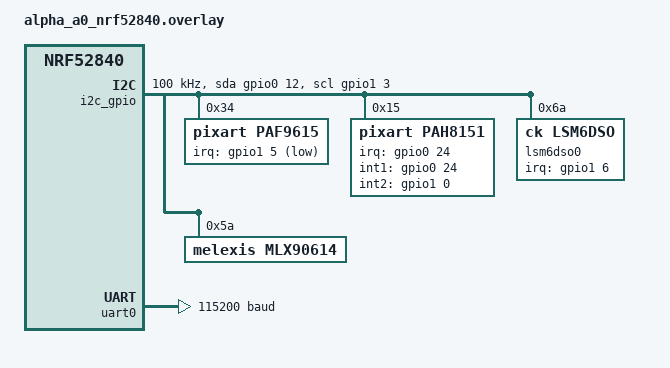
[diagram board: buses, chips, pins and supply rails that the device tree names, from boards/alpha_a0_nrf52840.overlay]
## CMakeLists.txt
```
cmake_minimum_required(VERSION 3.20.0)

# Drivers
set(DRIVERS
    vsm_drv
)

# Set Monorepo root
set(MONOREPO_ROOT "/workspaces/concord")
set(MONOREPO_ROOT ${MONOREPO_ROOT} CACHE INTERNAL "Monorepo root directory")

# Set the paths to the DTS and BOARD
set(DTS_ROOT ${MONOREPO_ROOT}/libs/zephyr/ck_boards/current)
set(BOARD_ROOT ${MONOREPO_ROOT}/libs/zephyr/ck_boards/current)
set(BOARD theta_b0/nrf52840)

# Append drivers
foreach(DRIVER IN LISTS DRIVERS)
    list(APPEND ZEPHYR_EXTRA_MODULES "${MONOREPO_ROOT}/libs/zephyr/${DRIVER}")
endforeach()

# DRIVERS FOR SOME REASON HAVE TO GO HERE?
find_package(Zephyr REQUIRED HINTS $ENV{ZEPHYR_BASE})
project(alpha)

# Get the library hex file path from the VSM driver module
set(LIBRARY_HEX_PATH ${VSM_PSP_HEX_PATH})

# Get the PAH8151 HRD library path from the VSM driver module
set(PAH8151_HRD_LIB_PATH ${VSM_PAH8151_HRD_LIB_PATH})

# Define the merged hex file path
set(MERGED_HEX_PATH "${CMAKE_BINARY_DIR}/merged.hex")

# Custom target to merge and flash both hex files
if(EXISTS ${LIBRARY_HEX_PATH})
    add_custom_target(merge_hex ALL
        COMMAND ${CMAKE_COMMAND} -E echo "Merging application and library hex files..."
        COMMAND mergehex -m ${CMAKE_BINARY_DIR}/zephyr/zephyr.hex ${LIBRARY_HEX_PATH} -o ${MERGED_HEX_PATH}
        DEPENDS ${CMAKE_BINARY_DIR}/zephyr/zephyr.hex
        COMMENT "Merging hex files: application and library"
    )

    # Flash the merged hex file
    add_custom_target(flash_merged ALL
        COMMAND west flash --hex-file ${MERGED_HEX_PATH} --skip-rebuild
        DEPENDS merge_hex
        COMMENT "Flashing merged hex file"
    )
else()
    message(WARNING "Library hex file not found at: ${LIBRARY_HEX_PATH}. Ensure the vsm_drv module is included correctly.")
endif()

# target_sources(app PRIVATE src/main.c)
target_sources(app PRIVATE src/main_9160.c)
# target_sources(app PRIVATE src/test.c)
# target_sources(app PRIVATE src/test_temp.c)
# target_sources(app PRIVATE src/test_snr.c)
# target_sources(app PRIVATE src/test_cross_talk.c)
# target_sources(app PRIVATE src/test_reflectivity.c)
```

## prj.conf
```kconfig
# CONFIG_THREAD_ANALYZER=y
# CONFIG_THREAD_ANALYZER_USE_PRINTK=y
# CONFIG_THREAD_ANALYZER_AUTO=y
# CONFIG_THREAD_ANALYZER_AUTO_INTERVAL=5

# CoreKinect VSM driver
CONFIG_CK_MODULES_VSM=y
CONFIG_CK_MODULES_VSM_BLE_SERVER=n
CONFIG_CK_MODULES_VSM_THREADS_DEBUG_LEVEL=3
CONFIG_CK_MODULES_VSM_SENSOR_DEBUG_LEVEL=3
CONFIG_CK_MODULES_VSM_TESTS_ENABLED=n
CONFIG_CK_MODULES_VSM_I2C_METRICS_ENABLED=n

# Logging
CONFIG_LOG=y
CONFIG_MAIN_STACK_SIZE=20000
CONFIG_LOG_BUFFER_SIZE=20000
CONFIG_LOG_MODE_DEFERRED=n
CONFIG_LOG_MODE_IMMEDIATE=y
CONFIG_CBPRINTF_FP_SUPPORT=y


# System
CONFIG_RING_BUFFER=y
CONFIG_POLL=y
CONFIG_ASSERT=y
CONFIG_POLL=y
CONFIG_FPU=y
CONFIG_NEWLIB_LIBC=y

# Debugging
CONFIG_HW_STACK_PROTECTION=y
CONFIG_THREAD_MONITOR=y
CONFIG_INIT_STACKS=y
CONFIG_DEBUG_THREAD_INFO=y
CONFIG_THREAD_STACK_INFO=y
CONFIG_THREAD_NAME=y
CONFIG_DEBUG_OPTIMIZATIONS=y
CONFIG_EXCEPTION_STACK_TRACE=y
CONFIG_DEBUG_INFO=y

# Shell
CONFIG_SHELL=n
CONFIG_I2C_SHELL=n

# Peripherals
CONFIG_I2C=y
CONFIG_I2C_GPIO=y
CONFIG_SPI=y

# Sensor
CONFIG_SENSOR=y
CONFIG_SENSOR_LOG_LEVEL_DBG=n
```

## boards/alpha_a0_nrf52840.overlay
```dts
&uart0 {
    status = "okay";
    current-speed = <115200>;
};

/ {
    aliases {
        vsm-enable = &vsm_enable;
        i2c-gpio = &i2c_gpio;
    };

    i2c_gpio: i2c-gpio {
        compatible = "gpio-i2c";
        status = "okay";
        clock-frequency = <100000>;
        #address-cells = <1>;
        #size-cells = <0>;
        scl-gpios = <&gpio1 3 (GPIO_OPEN_DRAIN | GPIO_PULL_UP)>;
        sda-gpios = <&gpio0 12 (GPIO_OPEN_DRAIN | GPIO_PULL_UP)>;

        paf9615: paf9615@34 {
            status = "okay";
            compatible = "pixart,paf9615";
            reg = <0x34>;
            irq-gpios = <&gpio1 5 GPIO_ACTIVE_LOW>;
            int-pin = <1>;
        };

        pah8151: pah8151@15 {
            status = "okay";
            compatible = "pixart,pah8151";
            reg = <0x15>;
            irq-gpios = <&gpio0 24 GPIO_ACTIVE_HIGH>;
            int1-gpios = <&gpio0 24 GPIO_ACTIVE_HIGH>;
            int2-gpios = <&gpio1 0 GPIO_ACTIVE_HIGH>;
            int-pin = <1>;
            led-current-ir = <255>;
            led-current-green = <255>;
        };

        lsm6dso0: lsm6dso@6a {
            status = "okay";
            compatible = "ck,lsm6dso";
            reg = <0x6a>;
            int-pin = <2>;
            irq-gpios = <&gpio1 6 GPIO_ACTIVE_HIGH>;
            accel-pm = <1>;      // 1 # LSM6DSO_DT_LP_NORMAL_MODE
            accel-range = <3>;   // 3 # LSM6DSO_DT_FS_8G
            accel-odr = <3>;     // 3 # LSM6DSO_DT_ODR_52HZ
            gyro-pm = <1>;       // 1 # LSM6DSO_DT_GY_NORMAL_MODE
            gyro-range = <0>;    // 2 # LSM6DSO_DT_GY_FS_2000DPS
            gyro-odr = <2>;      // 3 # LSM6DSO_DT_GY_ODR_26HZ
            drdy-pulsed;
        };

        mlx90614: mlx90614@5a {
            status = "okay";
            compatible = "melexis,mlx90614";
            reg = <0x5a>;
            emissivity = <65535>;  /* Default to 1.0 (65535/65535) */
        };
    };
};
```

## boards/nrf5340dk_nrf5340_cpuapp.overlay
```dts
&uart0 {
    status = "okay";
    current-speed = <115200>;
};

&i2c1 {
    compatible = "nordic,nrf-twim";
    status = "okay";
    pinctrl-0 = <&i2c2_default>;
    pinctrl-1 = <&i2c2_sleep>;
    pinctrl-names = "default", "sleep";
    clock-frequency = <I2C_BITRATE_FAST>;

    pah8151: pah8151@15 {
        compatible = "pixart,pah8151";
        reg = <0x15>;
        irq-gpios = <&gpio0 6 GPIO_ACTIVE_HIGH>;
        int-pin = <1>;
        led-current-ir = <255>;
        led-current-red = <255>;
        led-current-green = <255>;
    };

     lsm6dso0: lsm6dso@6b {
        status = "okay";
		compatible = "st,lsm6dso";
        reg = <0x6b>;
        int-pin = <1>;	
        irq-gpios =  <&gpio0 7 GPIO_ACTIVE_HIGH>;
        accel-pm = <1>;      // 1 # LSM6DSO_DT_XL_LP_NORMAL_MODE
        accel-range = <0>;   // 2 # LSM6DSO_DT_XL_FS_2G
        accel-odr = <2>;     // 3 # LSM6DSO_DT_XL_ODR_26HZ
        gyro-pm = <1>;       // 1 # LSM6DSO_DT_GY_NORMAL_MODE
        gyro-range = <0>;    // 2 # LSM6DSO_DT_GY_FS_2000DPS
        gyro-odr = <2>;      // 3 # LSM6DSO_DT_GY_ODR_26HZ
        drdy-pulsed;
	};
};

&pinctrl {
    i2c2_default: i2c2_default {
        group1 {
            psels = <NRF_PSEL(TWIM_SCL, 0, 4)>,
                    <NRF_PSEL(TWIM_SDA, 0, 5)>;
            bias-pull-up;
            nordic,drive-mode = <NRF_DRIVE_H0S1>;
        };
    };
 
    i2c2_sleep: i2c2_sleep {
        group1 {
            psels = <NRF_PSEL(TWIM_SCL, 0, 4)>,
                    <NRF_PSEL(TWIM_SDA, 0, 5)>;
            low-power-enable;
        };
    };
};
```

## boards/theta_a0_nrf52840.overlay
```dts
&uart0 {
    status = "okay";
    current-speed = <115200>;
};

&i2c1 {
    compatible = "nordic,nrf-twim";
    status = "okay";
    pinctrl-0 = <&i2c2_default>;
    pinctrl-1 = <&i2c2_sleep>;
    pinctrl-names = "default", "sleep";
    clock-frequency = <I2C_BITRATE_FAST>;

    pah8151: pah8151@15 {
        compatible = "pixart,pah8151";
        reg = <0x15>;
        irq-gpios = <&gpio0 6 GPIO_ACTIVE_HIGH>;
        int-pin = <1>;
        led-current-ir = <255>;
        led-current-red = <255>;
        led-current-green = <255>;
    };

     lsm6dso0: lsm6dso@6b {
        status = "okay";
		compatible = "st,lsm6dso";
        reg = <0x6b>;
        int-pin = <1>;	
        irq-gpios =  <&gpio0 7 GPIO_ACTIVE_HIGH>;
        accel-pm = <1>;      // 1 # LSM6DSO_DT_LP_NORMAL_MODE
        accel-range = <3>;   // 3 # LSM6DSO_DT_FS_8G
        accel-odr = <2>;     // 3 # LSM6DSO_DT_ODR_26HZ
        gyro-pm = <1>;       // 1 # LSM6DSO_DT_GY_NORMAL_MODE
        gyro-range = <0>;    // 2 # LSM6DSO_DT_GY_FS_2000DPS
        gyro-odr = <2>;      // 3 # LSM6DSO_DT_GY_ODR_26HZ
        drdy-pulsed;
	};
};

&pinctrl {
    i2c2_default: i2c2_default {
        group1 {
            psels = <NRF_PSEL(TWIM_SCL, 0, 4)>,
                    <NRF_PSEL(TWIM_SDA, 0, 5)>;
            bias-pull-up;
            nordic,drive-mode = <NRF_DRIVE_H0S1>;
        };
    };
 
    i2c2_sleep: i2c2_sleep {
        group1 {
            psels = <NRF_PSEL(TWIM_SCL, 0, 4)>,
                    <NRF_PSEL(TWIM_SDA, 0, 5)>;
            low-power-enable;
        };
    };
};
```

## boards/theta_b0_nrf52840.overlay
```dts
&uart0 {
    status = "okay";
    current-speed = <115200>;
};

&i2c1 {
    compatible = "nordic,nrf-twim";
    status = "okay";
    clock-frequency = <100000>;

    paf9615: paf9615@34 {
        status = "okay";
        compatible = "pixart,paf9615";
        reg = <0x34>;
        irq-gpios = <&gpio1 5 GPIO_ACTIVE_LOW>;
        int-pin = <1>;
    };

    pah8151: pah8151@15 {
        status = "okay";
        compatible = "pixart,pah8151";
        reg = <0x15>;
        irq-gpios = <&gpio1 3 GPIO_ACTIVE_HIGH>;
        int1-gpios = <&gpio1 3 GPIO_ACTIVE_HIGH>;
        int2-gpios = <&gpio1 1 GPIO_ACTIVE_HIGH>;
        int-pin = <1>;
        led-current-ir = <255>;
        led-current-red = <255>;
        led-current-green = <255>;
    };

    lsm6dso0: lsm6dso@6a {
        status = "okay";
        compatible = "ck,lsm6dso";
        reg = <0x6a>;
        int-pin = <2>;
        irq-gpios = <&gpio1 6 GPIO_ACTIVE_HIGH>;
        accel-pm = <1>;      // 1 # LSM6DSO_DT_LP_NORMAL_MODE
        accel-range = <3>;   // 3 # LSM6DSO_DT_FS_8G
        accel-odr = <3>;     // 3 # LSM6DSO_DT_ODR_52HZ
        gyro-pm = <1>;       // 1 # LSM6DSO_DT_GY_NORMAL_MODE
        gyro-range = <0>;    // 2 # LSM6DSO_DT_GY_FS_2000DPS
        gyro-odr = <2>;      // 3 # LSM6DSO_DT_GY_ODR_26HZ
        drdy-pulsed;
    };
};
```

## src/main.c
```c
// Standard includes
#include <stdbool.h>
#include <stdio.h>

// Zephyr includes
#include <zephyr/device.h>
#include <zephyr/drivers/gpio.h>
#include <zephyr/drivers/i2c.h>
#include <zephyr/drivers/sensor.h>
#include <zephyr/kernel.h>
#include <zephyr/logging/log.h>
#include <zephyr/pm/pm.h>

// Application includes
#include <corekinect/module/vsm/vsm.h>

LOG_MODULE_REGISTER(alpha, 4);

// Forward declarations for helper functions
static void handle_vsm_callback(const vitals_thread_callback_data_t *data, void *user_data);
static void process_vitals_metrics(const vitals_output_metrics_t *metrics);

// Global variables
static vsm_t g_vsm = {0};
static struct k_sem g_vsm_hw_error_sem;

static void handle_vsm_callback(const vitals_thread_callback_data_t *data, void *user_data) {
    // Process based on event type
    switch (data->event) {
        case VITALS_EVENT_HW_ERROR:
            // Handle hardware error
            LOG_ERR("PPG Sensor Error: %d", data->hw_error.ppg_sensor_error);
            LOG_ERR("IMU Sensor Error: %d", data->hw_error.imu_sensor_error);
            LOG_ERR("Temp Sensor Error: %d", data->hw_error.temp_sensor_error);

            k_sem_give(&g_vsm_hw_error_sem);
            break;

        case VITALS_EVENT_STATE_CHANGED:
            // Handle state transitions
            switch (data->state) {
                case VITALS_STATE_IDLE:
                    // Idle state, do nothing
                    break;

                case VITALS_STATE_TOUCH_DETECTED:
                    // Touch detected, do nothing
                    LOG_WRN("Touch detected, beginning skin detection");
                    break;

                case VITALS_STATE_SKIN_CONFIRMED:
                    // Skin contact confirmed, activate full monitoring
                    LOG_WRN("Skin contact confirmed, activating monitoring");
                    vsm_activate_monitoring(&g_vsm);
                    break;

                case VITALS_STATE_ACTIVE_MONITORING:
                    // Active monitoring, do nothing
                    LOG_WRN("Active monitoring");
                    break;

                case VITALS_STATE_TOUCH_LOST:
                    // Touch lost, do nothing
                    LOG_WRN("Touch lost, beginning deskin detection");
                    break;

                case VITALS_STATE_DESKIN_CONFIRMED:
                    // Skin contact lost, deactivate monitoring
                    LOG_WRN("Skin contact lost, deactivating monitoring");
                    // vsm_deactivate_monitoring(&g_vsm);
                    break;

                case VITALS_STATE_SHUTDOWN:
                    // Shutdown state, do nothing
                    LOG_WRN("Shutting down");
                    break;

                default:
                    LOG_ERR("Unknown vitals thread state: %d", data->state);
                    break;
            }
            break;

        case VITALS_EVENT_METRICS_UPDATED:
            // Process updated metrics
            process_vitals_metrics(&data->metrics);
            break;

        default:
            LOG_WRN("Unknown vitals event: %d", data->event);
            break;
    }
}

static void process_vitals_metrics(const vitals_output_metrics_t *metrics) {
    // Check which metrics were updated and process them
    if (metrics->heart_rate_updated) {
        LOG_INF("Heart rate updated: %d bpm (quality: %d)", metrics->heart_rate, metrics->heart_rate_quality);
    }

    if (metrics->spo2_updated) {
        LOG_INF("SpO2 updated: %d%% (quality: %d)", metrics->spo2, metrics->spo2_quality);
    }

    if (metrics->temperature_updated) {
        LOG_INF("Temperature updated: %.1f°F", (double)metrics->temperature_f);
    }
}

int main(void) {
    // Configure vitals thread with callback and detection parameters
    static const vsm_config_t vsm_cfg = {
        // Hardware devices
        .p_ppg_dev = DEVICE_DT_GET(DT_NODELABEL(pah8151)),
        .p_imu_dev = DEVICE_DT_GET(DT_NODELABEL(lsm6dso0)),
        .p_temp_dev = DEVICE_DT_GET(DT_NODELABEL(mlx90614)),
        .p_ppg_enable_gpio = GPIO_DT_SPEC_GET(DT_ALIAS(vsm_enable), gpios),

        // Application callback
        .callback = handle_vsm_callback,
        .callback_user_data = NULL,

        // Skin detection parameters
        .skin_temp_min_threshold_f = 70.0f,
        .skin_temp_max_threshold_f = 100.0f,
        .skin_detection_period_ms = 1000,
        .deskin_detection_period_ms = 6000,
    };

    k_sem_init(&g_vsm_hw_error_sem, 0, 1);

    // Main application loop
    while (1) {
        bool vsm_initialized = false;
        while (!vsm_initialized) {
            k_sleep(K_SECONDS(1));

            if (!vsm_init(&vsm_cfg, &g_vsm)) {
                LOG_ERR("Failed to initialize vitals thread");
                vsm_initialized = false;

                // Try to clean up, it may fail depending on hardware state,
                // but will attempt to clean up sensor hardware
                vsm_deinit(&g_vsm);
            } else {
                vsm_initialized = true;
            }
        }

        LOG_INF("VSM module is ready to use!");

        k_sem_take(&g_vsm_hw_error_sem, K_FOREVER);
        LOG_ERR("Hardware error detected, shutting down VSM module");

        if (!vsm_deinit(&g_vsm)) {
            LOG_ERR("Failed to deinitialize vitals thread");
            return -1;
        }
    }

    return 0;
}
```

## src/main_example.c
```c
// Standard includes
#include <stdbool.h>
#include <stdio.h>

// Zephyr includes
#include <zephyr/device.h>
#include <zephyr/drivers/gpio.h>
#include <zephyr/drivers/i2c.h>
#include <zephyr/drivers/sensor.h>
#include <zephyr/kernel.h>
#include <zephyr/logging/log.h>

// Application includes
#include <corekinect/module/vsm/vsm.h>

LOG_MODULE_REGISTER(alpha, 4);

// Forward declarations for helper functions
static void handle_vitals_callback(const vitals_thread_callback_data_t *data, void *user_data);
static void process_vitals_metrics(const vitals_output_metrics_t *metrics);

// Global variables
static vitals_thread_t g_vitals_thread = {0};

/**
 * @brief Handler for vitals thread callback events
 */
static void handle_vitals_callback(const vitals_thread_callback_data_t *data, void *user_data) {
    // Process based on event type
    switch (data->event) {
        case VITALS_EVENT_STATE_CHANGED:
            // Handle state transitions
            switch (data->state) {
                case VITALS_STATE_IDLE:
                    // Idle state, do nothing
                    LOG_WRN("Vitals thread is idle");
                    break;

                case VITALS_STATE_TOUCH_DETECTED:
                    // Touch detected, do nothing
                    LOG_WRN("Touch detected, beginning skin detection");
                    break;

                case VITALS_STATE_SKIN_CONFIRMED:
                    // Skin contact confirmed, activate full monitoring
                    LOG_WRN("Skin contact confirmed, activating monitoring");
                    vitals_thread_activate_monitoring(&g_vitals_thread);
                    break;

                case VITALS_STATE_ACTIVE_MONITORING:
                    // Active monitoring, do nothing
                    LOG_WRN("Active monitoring");
                    break;

                case VITALS_STATE_TOUCH_LOST:
                    // Touch lost, do nothing
                    LOG_WRN("Touch lost, beginning deskin detection");
                    break;

                case VITALS_STATE_DESKIN_CONFIRMED:
                    // Skin contact lost, deactivate monitoring
                    LOG_WRN("Skin contact lost, deactivating monitoring");
                    // vitals_thread_deactivate_monitoring(&g_vitals_thread);
                    break;

                default:
                    LOG_ERR("Unknown vitals thread state: %d", data->state);
                    break;
            }
            break;

        case VITALS_EVENT_METRICS_UPDATED:
            // Process updated metrics
            process_vitals_metrics(&data->metrics);
            break;

        default:
            LOG_WRN("Unknown vitals event: %d", data->event);
            break;
    }
}

/**
 * @brief Process updated vitals metrics
 */
static void process_vitals_metrics(const vitals_output_metrics_t *metrics) {
    // Check which metrics were updated and process them
    if (metrics->heart_rate_updated) {
        LOG_INF("Heart rate updated: %d bpm (quality: %d)", metrics->heart_rate, metrics->heart_rate_quality);
    }

    if (metrics->spo2_updated) {
        LOG_INF("SpO2 updated: %d%% (quality: %d)", metrics->spo2, metrics->spo2_quality);
    }

    if (metrics->temperature_updated) {
        LOG_INF("Temperature updated: %.1f°F", (double)metrics->temperature_f);
    }

    // Send metrics to other subsystems as needed
    // ...
}

int main(void) {
    // Configure vitals thread with callback and detection parameters
    static const vitals_thread_config_t vitals_config = {
        // Hardware devices
        .p_ppg_dev = DEVICE_DT_GET(DT_NODELABEL(pah8151)),
        .p_imu_dev = DEVICE_DT_GET(DT_NODELABEL(lsm6dso0)),
        .p_temp_dev = DEVICE_DT_GET(DT_NODELABEL(paf9615)),

        // Application callback
        .callback = handle_vitals_callback,
        .callback_user_data = NULL,  // No user data needed in this example

        // Skin detection parameters
        .skin_temp_min_threshold_f = 70.0f,
        .skin_temp_max_threshold_f = 100.0f,
        .skin_detection_period_ms = 1000,
        .deskin_detection_period_ms = 6000,
    };

    // Initialize vitals thread
    if (!vitals_thread_init(&vitals_config, &g_vitals_thread)) {
        LOG_ERR("Failed to initialize vitals thread");
        return -1;
    }

    // // Configure bluetooth thread
    // static const bluetooth_thread_config_t bluetooth_config = {
    //     .sensor_data_25hz_enabled = false,
    //     .sensor_data_32hz_enabled = true,
    //     .psp_input_data_32hz_enabled = false,
    //     .psp_read_input_data_32hz_enabled = true,
    //     .vitals_1hz_enabled = true,

    // };

    // // Allocate bluetooth thread
    // static bluetooth_thread_t bluetooth_thread = {0};

    // // Initialize bluetooth thread
    // if (!bluetooth_thread_init(&bluetooth_config, &bluetooth_thread)) {
    //     LOG_ERR("Failed to initialize bluetooth thread");
    //     return -1;
    // }

    // LOG_INF("Alpha application started!");

    // Main application loop
    while (1) {
        // Application logic
        k_sleep(K_MSEC(100));
    }

    return 0;
}
```

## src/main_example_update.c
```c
// Standard includes
#include <stdbool.h>
#include <stdio.h>

// Zephyr includes
#include <zephyr/device.h>
#include <zephyr/drivers/gpio.h>
#include <zephyr/drivers/i2c.h>
#include <zephyr/drivers/sensor.h>
#include <zephyr/kernel.h>
#include <zephyr/logging/log.h>

// Application includes
#include <corekinect/module/vsm/vsm.h>

LOG_MODULE_REGISTER(alpha, 4);

// Forward declaration for vitals callback
static void vitals_callback(const vitals_thread_callback_data_t *data, void *user_data);

int main(void) {
    // Configure vitals thread with callback and detection parameters
    static const vitals_thread_config_t vitals_config = {
        .p_ppg_dev = DEVICE_DT_GET(DT_NODELABEL(pah8151)),
        .p_imu_dev = DEVICE_DT_GET(DT_NODELABEL(lsm6dso0)),
        .p_temp_dev = DEVICE_DT_GET(DT_NODELABEL(paf9615)),

        // Add callback functionality
        .callback = vitals_callback,
        .callback_user_data = NULL,

        // Configure skin detection parameters
        .skin_temp_min_threshold_f = 90.0f,
        .skin_temp_max_threshold_f = 102.0f,
        .skin_detection_period_ms = 2000,
        .deskin_detection_period_ms = 3000,
    };

    // Allocate vitals thread
    static vitals_thread_t vitals_thread = {0};

    // Initialize vitals thread
    if (!vitals_thread_init(&vitals_config, &vitals_thread)) {
        LOG_ERR("Failed to initialize vitals thread");
        return -1;
    }

    // Configure bluetooth thread
    static const bluetooth_thread_config_t bluetooth_config = {
        .sensor_data_25hz_enabled = false,
        .sensor_data_32hz_enabled = true,
        .psp_input_data_32hz_enabled = false,
        .psp_read_input_data_32hz_enabled = true,
        .vitals_1hz_enabled = true,
    };

    // Allocate bluetooth thread
    static bluetooth_thread_t bluetooth_thread = {0};

    // Initialize bluetooth thread
    if (!bluetooth_thread_init(&bluetooth_config, &bluetooth_thread)) {
        LOG_ERR("Failed to initialize bluetooth thread");
        return -1;
    }

    LOG_INF("Alpha application started!");

    return 0;
}

/**
 * @brief Callback function for vitals thread events
 */
static void vitals_callback(const vitals_thread_callback_data_t *data, void *user_data) {
    // Handle state change events
    if (data->event == VITALS_EVENT_STATE_CHANGED) {
        LOG_INF("Vitals state changed to: %d", data->state);

        // React to state changes
        switch (data->state) {
            case VITALS_STATE_SKIN_CONFIRMED:
                LOG_INF("Skin contact confirmed");
                // Application can perform any necessary operations here
                break;

            case VITALS_STATE_ACTIVE_MONITORING:
                LOG_INF("Active monitoring started");
                break;

            case VITALS_STATE_DESKIN_CONFIRMED:
                LOG_INF("Skin contact lost");
                break;

            default:
                // Handle other states as needed
                break;
        }
    }

    // Handle metrics update events
    if (data->event == VITALS_EVENT_METRICS_UPDATED) {
        const vitals_output_metrics_t *metrics = &data->metrics;

        // Process updated metrics
        if (metrics->heart_rate_updated) {
            LOG_INF("Heart rate: %d bpm (quality: %d)",
                    metrics->heart_rate, metrics->heart_rate_quality);
        }

        if (metrics->spo2_updated) {
            LOG_INF("SpO2: %d%% (quality: %d)",
                    metrics->spo2, metrics->spo2_quality);
        }

        if (metrics->temperature_updated) {
            LOG_INF("Temperature: %.1f°F", metrics->temperature_f);
        }
    }
}
```

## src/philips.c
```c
// Standard includes
#include <stdbool.h>

// Zephyr includes
#include <zephyr/kernel.h>
#include <zephyr/logging/log.h>

// Philips external library
#include "../lib/inc/fx_datatypes.h"
#include "../lib/inc/psp.h"

LOG_MODULE_REGISTER(app, 4);

const char *psp_error_string(PSP_ERROR err);

int main(void) {
    while (true) {
        // The library will tell us how much memory it needs to use
        static PSP_INST_PARAMS inst_params = {0};
        PSP_ERROR err = PSP_GetDefaultParams(&inst_params);
        if (err != PSP_ERROR_NONE) {
            LOG_ERR("Could not get the default parameters for Phillips library: %s", psp_error_string(err));
            k_fatal_halt(0);
        }

        // Allocate memory to call the library
        inst_params.pMem = k_malloc(inst_params.memorySize);
        if (inst_params.pMem == NULL) {
            LOG_ERR("Could not allocated %d bytes of memory for instance needed by Phillips library", inst_params.memorySize);
            k_fatal_halt(0);
        }

        inst_params.pSourceID = k_malloc(inst_params.sourceIDSize);
        if (inst_params.pMem == NULL) {
            LOG_ERR("Could not allocated %d bytes of memory for source ID needed by Phillips library", inst_params.sourceIDSize);
            k_fatal_halt(0);
        }

        // Create a new library instance
        static PPSP_INST inst = {0};
        err = PSP_Initialise(&inst_params, &inst);
        if (err != PSP_ERROR_NONE) {
            LOG_ERR("Could not initialize Phillips library: %s", psp_error_string(err));
            k_fatal_halt(0);
        }

        LOG_INF("Hello world!");
        k_msleep(1000);
    }

    return 0;
}

const char *psp_error_string(PSP_ERROR err) {
    switch (err) {
        case PSP_ERROR_NONE:
            return "No error";
        case PSP_ERROR_NOT_ENOUGH_MEMORY:
            return "Not enough memory provided";
        case PSP_ERROR_INITIALISATION_FAILED:
            return "Initialisation failed";
        case PSP_ERROR_SIZE_CONFLICT:
            return "Metric data conflicts with size definition";
        case PSP_ERROR_METRIC_NOT_SUPPORTED:
            return "Undefined metric ID used";
        case PSP_ERROR_MODULE_NOT_INITIALISED:
            return "Module not initialised";
        case PSP_ERROR_MEMORY_CORRUPTED:
            return "Memory corrupted";
        case PSP_ERROR_INVALID_PARAMS:
            return "Invalid parameters provided";
        case PSP_ERROR_MULTIPLE_SET:
            return "Attempting to set metric multiple times";
        case PSP_ERROR_DATA_INCOMPLETE:
            return "Metric data is incomplete";
        default:
            return "Unknown error code";
    }
}
```

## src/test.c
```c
// Standard includes
#include <stdbool.h>
#include <stdio.h>

// Zephyr includes
#include <zephyr/device.h>
#include <zephyr/drivers/gpio.h>
#include <zephyr/drivers/i2c.h>
#include <zephyr/drivers/sensor.h>
#include <zephyr/kernel.h>
#include <zephyr/logging/log.h>

// Application includes
#include <corekinect/module/vsm/vsm.h>
#include <corekinect/sensor/pah8151/PAH8151/pah_factory_test/pah_815x_factory_test_v1.h>

LOG_MODULE_REGISTER(alpha, 4);

int main(void) {
    uint8_t sensor_pid = 0;
    pah_815x_read_id(&sensor_pid);

    if (sensor_pid == 0x51) {
        LOG_PRINT("ID Check Success. Sensor_pid = 0x%x \n\n", sensor_pid);
    } else {
        LOG_PRINT("ID Check Fail.    Sensor_pid = 0x%x \n\n", sensor_pid);
    }

    // INT_TEST
    demo_factory_mode(INT_TEST, 0, 0, 0, 0);
    // Check_Brightness_FPC_Only
    demo_factory_mode(Check_Brightness_FPC_Only, 0, 0, 0, 0);

    // Light_Leak_Test
    demo_factory_mode(Light_Leak_Test, 0, 0, 0, 0);

    // Check_Brightness_with_mechanical_cover
    demo_factory_mode(Check_Brightness_with_mechanical_cover, 0x45, 0x45, 0x45, 0x45);

    // Check_Power Noise
    demo_factory_mode(Power_Noise_Test, 0, 0, 0, 0);
    k_msleep(5000);

    // Stop Factory Test
    demo_factory_mode(Factory_Test_Stop, 0, 0, 0, 0);

    // Cap Full Channel &SNR Test //
    // Full_Channel_SNR_Test();

    return 0;
}
```
